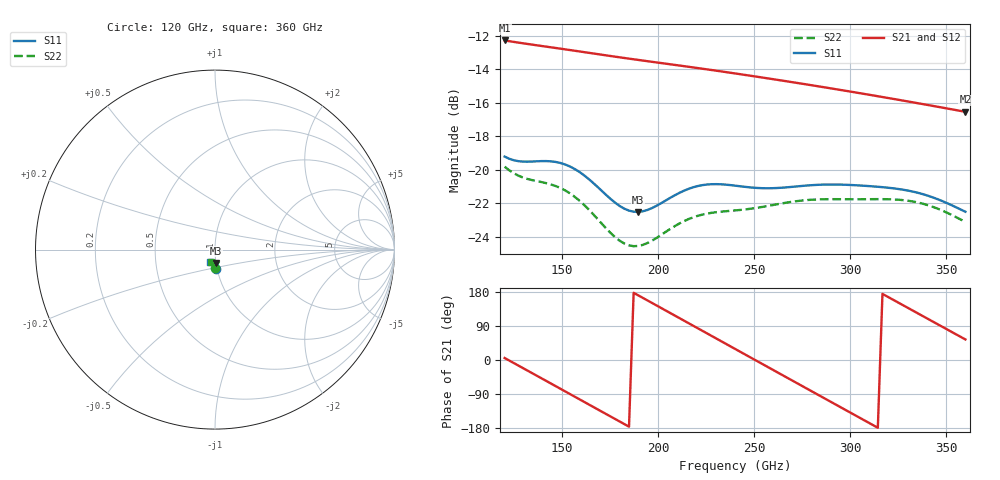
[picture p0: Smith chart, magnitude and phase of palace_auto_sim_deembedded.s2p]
! Created with skrf 1.11.0 (http://scikit-rf.org).
# GHz S DB R 50.0
!freq dBS11 angS11 dBS21 angS21 dBS12 angS12 dBS22 angS22
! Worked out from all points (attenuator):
!   101 points, 120 GHz to 360 GHz, reference 50 ohm
!   highest |S21| = -12.27 dB at 120 GHz (marker M1); lowest = -16.5 dB at 360 GHz (marker M2)
!   lowest |S11| = -22.5 dB at 189.6 GHz (marker M3), VSWR 1.16, Z = 50.1 - j7.51 ohm
!   |S11| at or under -10 dB: start of sweep to end of sweep
!   |S22| runs from -24.6 to -19.8 dB; largest |S21 - S12| = 4.2e-15
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120  -19.21 -86.0  -12.27 5.3  -12.27 5.3  -19.82 -89.2
129.6  -19.51 -83.7  -12.44 -21.5  -12.44 -21.5  -20.47 -86.8
141.6  -19.48 -84.7  -12.64 -55.0  -12.64 -55.0  -20.80 -86.7
151.2  -19.67 -88.2  -12.80 -81.9  -12.80 -81.9  -21.21 -89.2
160.8  -20.28 -92.0  -12.96 -108.8  -12.96 -108.8  -22.04 -91.7
175.2  -21.74 -92.6  -13.20 -149.1  -13.20 -149.1  -23.78 -89.7
189.6  -22.52 -85.0  -13.43 170.6  -13.43 170.6  -24.56 -78.8
201.6  -21.99 -80.0  -13.62 137.0  -13.62 137.0  -23.89 -72.3
211.2  -21.37 -80.1  -13.77 110.1  -13.77 110.1  -23.20 -71.7
220.8  -20.97 -82.7  -13.92 83.2  -13.92 83.2  -22.75 -73.3
230.4  -20.86 -85.8  -14.08 56.3  -14.08 56.3  -22.54 -75.3
240  -20.95 -88.2  -14.24 29.4  -14.24 29.4  -22.43 -76.8
249.6  -21.07 -89.5  -14.41 2.5  -14.41 2.5  -22.31 -78.0
259.2  -21.10 -90.3  -14.57 -24.4  -14.57 -24.4  -22.12 -79.5
271.2  -21.01 -91.6  -14.79 -58.0  -14.79 -58.0  -21.89 -82.1
280.8  -20.92 -93.3  -14.96 -84.9  -14.96 -84.9  -21.79 -84.7
290.4  -20.88 -95.5  -15.14 -111.8  -15.14 -111.8  -21.76 -87.4
302.4  -20.92 -98.2  -15.37 -145.3  -15.37 -145.3  -21.76 -90.4
312  -21.00 -100.3  -15.56 -172.1  -15.56 -172.1  -21.76 -92.9
321.6  -21.10 -102.6  -15.75 161.1  -15.75 161.1  -21.77 -95.9
340.8  -21.56 -107.4  -16.14 107.6  -16.14 107.6  -22.13 -102.8
360  -22.51 -109.9  -16.53 54.2  -16.53 54.2  -23.12 -107.5
